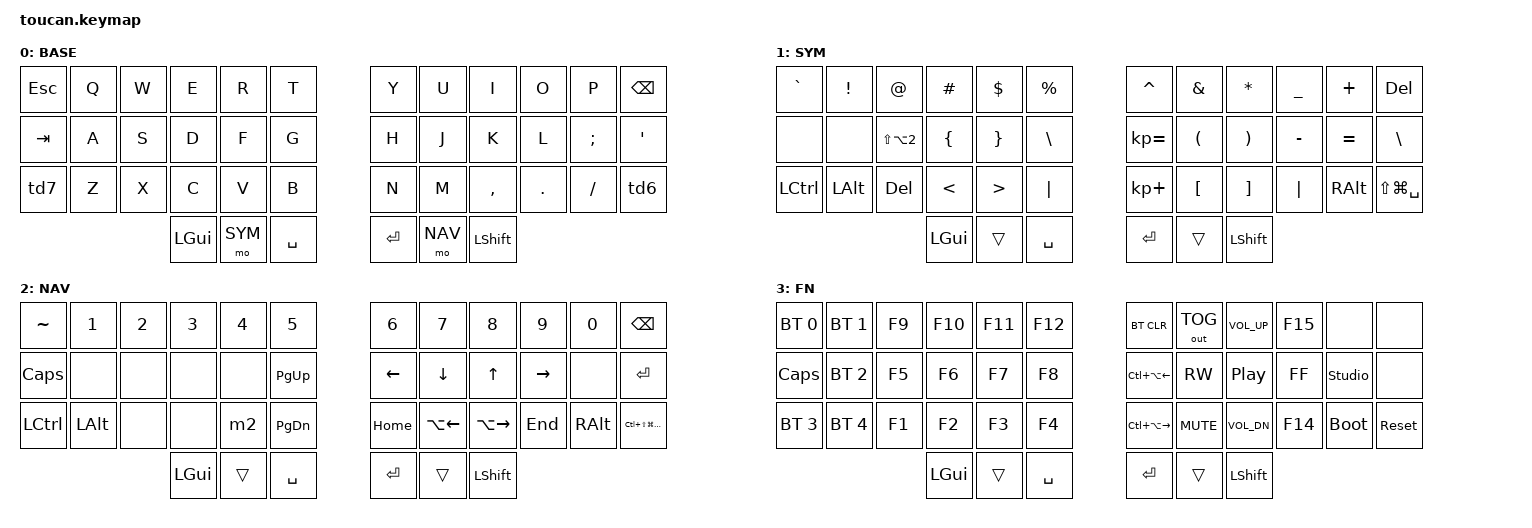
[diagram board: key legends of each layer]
#include <behaviors.dtsi>
#include <dt-bindings/zmk/keys.h>
#include <dt-bindings/zmk/bt.h>
#include <dt-bindings/zmk/outputs.h>

#define BASE 0
#define SYM  1
#define NAV  2
#define FN   3

// Hyper = Ctrl + Shift + Gui + Alt
#define HYPER LS(LC(LG(LALT)))

/ {
    conditional_layers {
        compatible = "zmk,conditional-layers";
        tri_layer {
            if-layers = <SYM NAV>;
            then-layer = <FN>;
        };
    };

    behaviors {
        // TD(6): tap = Gui+Space, hold = one-shot Hyper (OSM), double-tap = Shift+Gui+Space
        hyper_gspc: hyper_gui_space {
            compatible = "zmk,behavior-hold-tap";
            #binding-cells = <2>;
            flavor = "tap-preferred";
            tapping-term-ms = <150>;
            bindings = <&sk>, <&kp>;
        };
        td6: tap_dance_6 {
            compatible = "zmk,behavior-tap-dance";
            #binding-cells = <0>;
            tapping-term-ms = <150>;
            bindings = <&hyper_gspc HYPER LG(SPACE)>, <&kp LS(LG(SPACE))>;
        };

        // TD(7): tap/hold = Ctrl, double-tap = Ctrl+L
        td7: tap_dance_7 {
            compatible = "zmk,behavior-tap-dance";
            #binding-cells = <0>;
            tapping-term-ms = <200>;
            bindings = <&kp LCTRL>, <&kp LC(L)>;
        };
    };

    macros {
        // M2: Gui+Shift+Alt+V
        m2: macro_2 {
            compatible = "zmk,behavior-macro";
            #binding-cells = <0>;
            wait-ms = <0>;
            tap-ms = <5>;
            bindings = <&macro_press &kp LGUI &kp LSHFT>,
                       <&macro_wait_time 50>,
                       <&macro_press &kp LALT>,
                       <&macro_tap &kp V>,
                       <&macro_wait_time 50>,
                       <&macro_release &kp LALT &kp LSHFT &kp LGUI>;
        };
    };

    combos {
        compatible = "zmk,combos";
        // TAB + A -> Left Shift
        combo_lshift {
            timeout-ms = <50>;
            key-positions = <12 13>;
            bindings = <&kp LSHFT>;
        };
        // P + BSPC -> Delete
        combo_del {
            timeout-ms = <50>;
            key-positions = <10 11>;
            bindings = <&kp DEL>;
        };
        // I + O -> one-shot Ctrl+Shift+Gui
        combo_osm {
            timeout-ms = <50>;
            key-positions = <8 9>;
            bindings = <&sk LC(LS(LGUI))>;
        };
        // R + T -> Backspace
        combo_bspc {
            timeout-ms = <50>;
            key-positions = <4 5>;
            bindings = <&kp BSPC>;
        };
    };

    keymap {
        compatible = "zmk,keymap";

        base {
            display-name = "BASE";
            bindings = <
                &kp ESC   &kp Q &kp W &kp E &kp R &kp T   &kp Y &kp U  &kp I     &kp O   &kp P    &kp BSPC
                &kp TAB   &kp A &kp S &kp D &kp F &kp G   &kp H &kp J  &kp K     &kp L   &kp SEMI &kp SQT
                &td7      &kp Z &kp X &kp C &kp V &kp B   &kp N &kp M  &kp COMMA &kp DOT &kp FSLH &td6
                              &kp LGUI &mo SYM &kp SPACE   &kp RET &mo NAV &kp LSHFT
            >;
        };

        sym {
            display-name = "SYM";
            bindings = <
                &kp GRAVE &kp EXCL &kp AT       &kp HASH &kp DLLR &kp PRCNT   &kp CARET    &kp AMPS &kp ASTRK &kp UNDER &kp PLUS  &kp DEL
                &none     &none    &kp LS(LA(N2)) &kp LBRC &kp RBRC &kp BSLH    &kp KP_EQUAL &kp LPAR &kp RPAR  &kp MINUS &kp EQUAL &kp BSLH
                &kp LCTRL &kp LALT &kp DEL      &kp LT   &kp GT   &kp PIPE    &kp KP_PLUS  &kp LBKT &kp RBKT  &kp PIPE  &kp RALT  &kp LS(LG(SPACE))
                                   &kp LGUI &trans &kp SPACE   &kp RET &trans &kp LSHFT
            >;
        };

        nav {
            display-name = "NAV";
            bindings = <
                &kp TILDE &kp N1 &kp N2 &kp N3 &kp N4 &kp N5   &kp N6   &kp N7      &kp N8      &kp N9    &kp N0   &kp BSPC
                &kp CAPS  &none  &none  &none  &none  &kp PG_UP &kp LEFT &kp DOWN    &kp UP      &kp RIGHT &none    &kp RET
                &kp LCTRL &kp LALT &none &none &m2   &kp PG_DN &kp HOME &kp LA(LEFT) &kp LA(RIGHT) &kp END &kp RALT &kp LC(LS(LG(LA(RET))))
                                   &kp LGUI &trans &kp SPACE   &kp RET &trans &kp LSHFT
            >;
        };

        fn {
            display-name = "FN";
            bindings = <
                &bt BT_SEL 0 &bt BT_SEL 1 &kp F9 &kp F10 &kp F11 &kp F12   &bt BT_CLR        &out OUT_TOG &kp C_VOL_UP &kp F15 &none          &none
                &kp CAPS     &bt BT_SEL 2 &kp F5 &kp F6  &kp F7  &kp F8    &kp LC(LA(LEFT))  &kp C_RW     &kp C_PP     &kp C_FF &studio_unlock &none
                &bt BT_SEL 3 &bt BT_SEL 4 &kp F1 &kp F2  &kp F3  &kp F4    &kp LC(LA(RIGHT)) &kp C_MUTE   &kp C_VOL_DN &kp F14 &bootloader    &sys_reset
                                   &kp LGUI &trans &kp SPACE   &kp RET &trans &kp LSHFT
            >;
        };

        extra_1 {
                status = "reserved";
        };

        extra_2 {
                status = "reserved";
        };

        extra_3 {
                status = "reserved";
        };
    };
};
